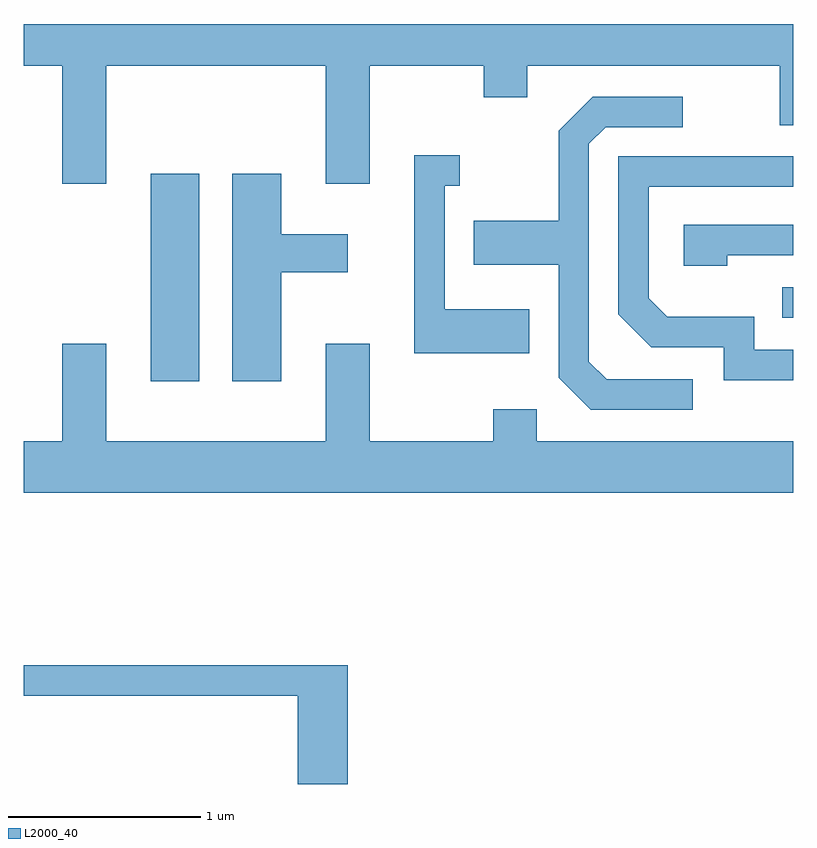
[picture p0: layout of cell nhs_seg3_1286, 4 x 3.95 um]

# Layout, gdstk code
import gdstk
lib = gdstk.Library(unit=1e-6, precision=1e-09)
def R(c, l, rs):  # rectangles x0, y0, x1, y1
    for r in rs: c.add(gdstk.rectangle(r[:2], r[2:], *l))
def P(c, l, *ps):  # polygons
    for p in ps: c.add(gdstk.Polygon(p, *l))
L2000_40 = (2000, 40)

nhs_seg3_1286 = lib.new_cell('nhs_seg3_1286')
R(nhs_seg3_1286, L2000_40, [(222.271,1242.036,222.524,1243.114), (225.553,1242.366,225.611,1242.524)])
P(nhs_seg3_1286, L2000_40, [(222.039,1243.676),(223.181,1243.676),(223.181,1243.061),(223.409,1243.061),(223.409,1243.676),(224.001,1243.676),(224.001,1243.511),(224.229,1243.511),(224.229,1243.676),(225.541,1243.676),(225.541,1243.366),(225.611,1243.366),(225.611,1243.892),(221.611,1243.892),(221.611,1243.676),(221.811,1243.676),(221.811,1243.061),(222.039,1243.061)],
  [(225.088,1242.044),(224.642,1242.044),(224.549,1242.137),(224.549,1243.269),(224.637,1243.356),(225.038,1243.356),(225.038,1243.514),(224.569,1243.514),(224.391,1243.337),(224.391,1242.869),(223.951,1242.869),(223.951,1242.641),(224.391,1242.641),(224.391,1242.054),(224.559,1241.886),(225.088,1241.886)],
  [(224.239,1242.409),(223.799,1242.409),(223.799,1243.051),(223.878,1243.051),(223.878,1243.209),(223.641,1243.209),(223.641,1242.181),(224.239,1242.181)],
  [(225.611,1242.199),(225.409,1242.199),(225.409,1242.369),(224.957,1242.369),(224.859,1242.467),(224.859,1243.046),(225.611,1243.046),(225.611,1243.204),(224.701,1243.204),(224.701,1242.384),(224.874,1242.211),(225.251,1242.211),(225.251,1242.041),(225.611,1242.041)],
  [(222.949,1242.601),(223.294,1242.601),(223.294,1242.799),(222.949,1242.799),(222.949,1243.114),(222.696,1243.114),(222.696,1242.036),(222.949,1242.036)],
  [(225.269,1242.691),(225.611,1242.691),(225.611,1242.849),(225.041,1242.849),(225.041,1242.636),(225.269,1242.636)],
  [(225.611,1241.724),(224.279,1241.724),(224.279,1241.889),(224.051,1241.889),(224.051,1241.724),(223.409,1241.724),(223.409,1242.229),(223.181,1242.229),(223.181,1241.724),(222.039,1241.724),(222.039,1242.229),(221.811,1242.229),(221.811,1241.724),(221.611,1241.724),(221.611,1241.456),(225.611,1241.456)],
  [(223.294,1240.559),(221.611,1240.559),(221.611,1240.401),(223.036,1240.401),(223.036,1239.941),(223.294,1239.941)])

lib.write_gds('nhs_seg3_1286.gds')
